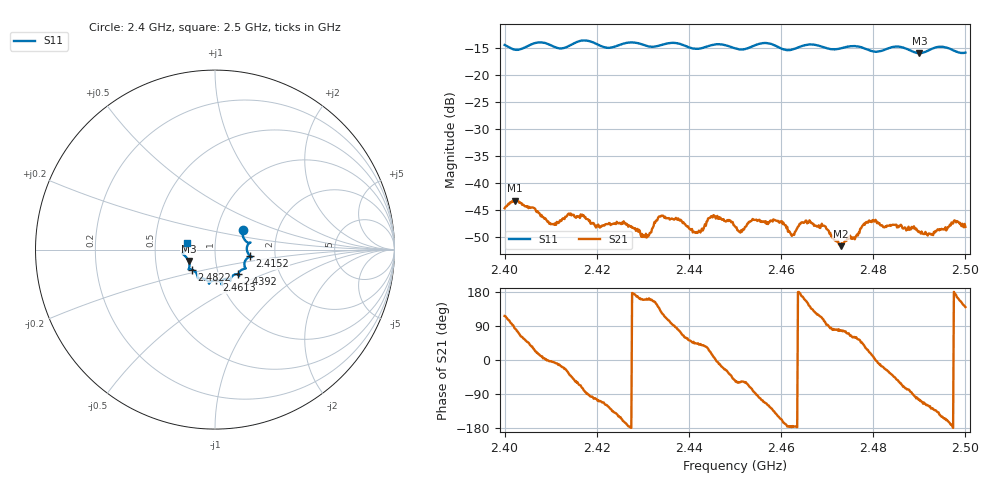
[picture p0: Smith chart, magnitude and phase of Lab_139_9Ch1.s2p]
# Hz S RI R 50
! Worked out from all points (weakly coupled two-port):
!   601 points, 2.4 GHz to 2.5 GHz, reference 50 ohm
!   highest |S21| = -43.24 dB at 2.4022 GHz (marker M1); lowest = -51.7 dB at 2.473 GHz (marker M2)
!   lowest |S11| = -15.9 dB at 2.49 GHz (marker M3), VSWR 1.38, Z = 36.9 - j4.83 ohm
!   |S11| at or under -10 dB: start of sweep to end of sweep
!   S12 and S22 are empty: the file has one direction only
!   S11 on the Smith chart (normalised r, x): 2.4 GHz: 1.33, +0.31; 2.4152 GHz: 1.48, -0.11; 2.4392 GHz: 1.23, -0.35; 2.4613 GHz: 0.96, -0.34; 2.4822 GHz: 0.76, -0.17; 2.5 GHz: 0.73, +0.05
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2.4e9  0.1555 0.1107  -0.00258 0.00524  0 0  0 0
2.402167e9  0.1555 0.0749  0.000723 0.00685  0 0  0 0
2.410167e9  0.1857 0.031  0.00417 -0.000245  0 0  0 0
2.415167e9  0.1951 -0.0359  0.00291 -0.00393  0 0  0 0
2.416667e9  0.2047 -0.0419  0.00159 -0.00468  0 0  0 0
2.426e9  0.1689 -0.102  -0.00409 -0.00118  0 0  0 0
2.4305e9  0.1529 -0.1104  -0.00295 0.00113  0 0  0 0
2.433333e9  0.1322 -0.1324  -0.00368 0.00309  0 0  0 0
2.439167e9  0.1268 -0.1379  0.00215 0.00357  0 0  0 0
2.442e9  0.0986 -0.1455  0.00251 0.00243  0 0  0 0
2.445167e9  0.0845 -0.1714  0.00471 0.00097  0 0  0 0
2.45e9  0.0686 -0.1636  0.00234 -0.0032  0 0  0 0
2.458833e9  0.0351 -0.1839  -0.0035 -0.00282  0 0  0 0
2.461333e9  0.0072 -0.1706  -0.00392 -0.000302  0 0  0 0
2.4625e9  -0.0101 -0.1729  -0.00332 -0.000328  0 0  0 0
2.466667e9  -0.0335 -0.1898  -0.00301 0.00303  0 0  0 0
2.473e9  -0.0771 -0.1598  0.000553 0.00254  0 0  0 0
2.478833e9  -0.0997 -0.1402  0.00383 0.00194  0 0  0 0
2.482167e9  -0.1281 -0.1119  0.0037 -0.00125  0 0  0 0
2.483333e9  -0.1394 -0.1104  0.00346 -0.00206  0 0  0 0
2.49e9  -0.1468 -0.0637  -0.000875 -0.00344  0 0  0 0
2.5e9  -0.1583 0.034  -0.00299 0.00254  0 0  0 0
